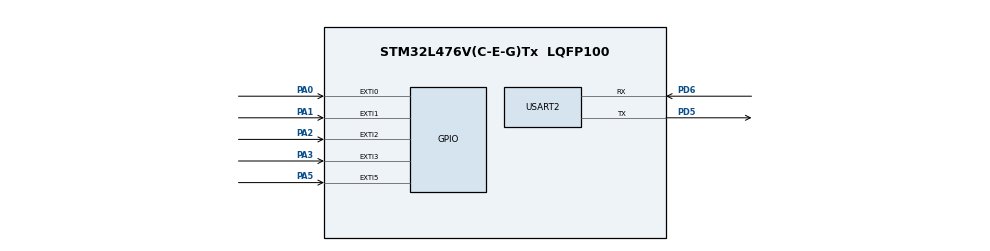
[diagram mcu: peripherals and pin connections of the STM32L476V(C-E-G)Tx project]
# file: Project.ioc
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Mcu.Family=STM32L4
Mcu.Name=STM32L476V(C-E-G)Tx
Mcu.Package=LQFP100
NVIC.EXTI0_IRQn=true\:0\:0\:true
NVIC.EXTI1_IRQn=true\:0\:0\:false
NVIC.EXTI2_IRQn=true\:0\:0\:false
NVIC.EXTI3_IRQn=true\:0\:0\:false
NVIC.EXTI9_5_IRQn=true\:0\:0\:false
NVIC.PriorityGroup=NVIC_PRIORITYGROUP_4
NVIC.RTC_WKUP_IRQn=true\:1\:0\:true
NVIC.USART2_IRQn=true\:0\:0\:false
PA0.GPIO_ModeDefaultEXTI=GPIO_MODE_IT_FALLING
PA0.GPIO_PuPd=GPIO_PULLDOWN
PA0.Signal=GPXTI0
PA1.GPIO_ModeDefaultEXTI=GPIO_MODE_IT_FALLING
PA1.GPIO_PuPd=GPIO_PULLDOWN
PA1.Signal=GPXTI1
PA13.Mode=Serial-Wire
PA13.Signal=SYS_JTMS-SWDIO
PA14.Mode=Serial-Wire
PA14.Signal=SYS_JTCK-SWCLK
PA2.GPIO_ModeDefaultEXTI=GPIO_MODE_IT_FALLING
PA2.GPIO_PuPd=GPIO_PULLDOWN
PA2.Signal=GPXTI2
PA3.GPIO_ModeDefaultEXTI=GPIO_MODE_IT_FALLING
PA3.GPIO_PuPd=GPIO_PULLDOWN
PA3.Signal=GPXTI3
PA5.GPIO_ModeDefaultEXTI=GPIO_MODE_IT_FALLING
PA5.GPIO_PuPd=GPIO_PULLDOWN
PA5.Signal=GPXTI5
PC14/OSC32_IN.Mode=LSE-External-Oscillator
PC14/OSC32_IN.Signal=RCC_OSC32_IN
PC15/OSC32_OUT.Mode=LSE-External-Oscillator
PC15/OSC32_OUT.Signal=RCC_OSC32_OUT
PD5.Mode=Asynchronous
PD5.Signal=USART2_TX
PD6.Mode=Asynchronous
PD6.Signal=USART2_RX
ProjectManager.TargetToolchain=EWARM
RCC.HSE_VALUE=8000000
RCC.HSI_VALUE=16000000
RCC.MSI_VALUE=4000000
RCC.PREFETCH_ENABLE=1
RCC.RTCClockSelection=RCC_RTCCLKSOURCE_LSE
RCC.USART2CLockSelection=RCC_USART2CLKSOURCE_HSI
RCC.VCOOutputFreq_Value=32000000
RTC.WakeUpClock=RTC_WAKEUPCLOCK_CK_SPRE_16BITS
RTC.WakeUpCounter=59
USART2.WordLength=UART_WORDLENGTH_8B
VP_RTC_VS_RTC_WakeUp_intern.Mode=WakeUp
board=Project

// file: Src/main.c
/**
  ******************************************************************************
  * File Name          : main.c
  * Description        : Main program body
  ******************************************************************************
  *
  * COPYRIGHT(c) 2015 STMicroelectronics
  *
  * Redistribution and use in source and binary forms, with or without modification,
  * are permitted provided that the following conditions are met:
  *   1. Redistributions of source code must retain the above copyright notice,
  *      this list of conditions and the following disclaimer.
  *   2. Redistributions in binary form must reproduce the above copyright notice,
  *      this list of conditions and the following disclaimer in the documentation
  *      and/or other materials provided with the distribution.
  *   3. Neither the name of STMicroelectronics nor the names of its contributors
  *      may be used to endorse or promote products derived from this software
  *      without specific prior written permission.
  *
  * THIS SOFTWARE IS PROVIDED BY THE COPYRIGHT HOLDERS AND CONTRIBUTORS "AS IS"
  * AND ANY EXPRESS OR IMPLIED WARRANTIES, INCLUDING, BUT NOT LIMITED TO, THE
  * IMPLIED WARRANTIES OF MERCHANTABILITY AND FITNESS FOR A PARTICULAR PURPOSE ARE
  * DISCLAIMED. IN NO EVENT SHALL THE COPYRIGHT HOLDER OR CONTRIBUTORS BE LIABLE
  * FOR ANY DIRECT, INDIRECT, INCIDENTAL, SPECIAL, EXEMPLARY, OR CONSEQUENTIAL
  * DAMAGES (INCLUDING, BUT NOT LIMITED TO, PROCUREMENT OF SUBSTITUTE GOODS OR
  * SERVICES; LOSS OF USE, DATA, OR PROFITS; OR BUSINESS INTERRUPTION) HOWEVER
  * CAUSED AND ON ANY THEORY OF LIABILITY, WHETHER IN CONTRACT, STRICT LIABILITY,
  * OR TORT (INCLUDING NEGLIGENCE OR OTHERWISE) ARISING IN ANY WAY OUT OF THE USE
  * OF THIS SOFTWARE, EVEN IF ADVISED OF THE POSSIBILITY OF SUCH DAMAGE.
  *
  ******************************************************************************
  */
#include "stm32l4xx_hal.h"

/* USER CODE BEGIN Includes */
#include "stm32l476g_discovery.h"
#include "stm32l476g_discovery_glass_lcd.h"

/* USER CODE END Includes */

RTC_HandleTypeDef hrtc;

UART_HandleTypeDef huart2;

/* USER CODE BEGIN PV */
/* Private variables ---------------------------------------------------------*/
#define STR_SIZE 7
#define SCREEN_VOLUME 1
#define SCREEN_FLOW 2
#define SCREEN_SN 3
#define SCREEN_FIRST SCREEN_VOLUME
#define SCREEN_LAST SCREEN_SN
#define LCD_ON

static const uint8_t sn[STR_SIZE-1] = {'S','N','1','2','3','4'};

static uint8_t str[STR_SIZE];
static volatile uint32_t volume = 0, flow = 0, flow_temp = 0;
static volatile uint8_t displayScreenNb = SCREEN_FIRST;

UART_WakeUpTypeDef Uart_WakeUpSelection;
uint8_t charbuf = 0;
uint8_t uart_flag = 0;

/* USER CODE END PV */

void SystemClock_Config(void);
static void MX_GPIO_Init(void);
static void MX_RTC_Init(void);
static void MX_USART2_UART_Init(void);

/* USER CODE BEGIN PFP */
/* Private function prototypes -----------------------------------------------*/
//static void Error_Handler(void);
static void DisplayServ(void);
static void UartInit(void);
static void UartSendServ(void);

/* USER CODE END PFP */

int main(void)
{

  /* MCU Configuration----------------------------------------------------------*/

  /* Reset of all peripherals, Initializes the Flash interface and the Systick. */
  HAL_Init();

  /* Configure the system clock */
  SystemClock_Config();

  /* Initialize all configured peripherals */
  MX_GPIO_Init();
  MX_RTC_Init();
  MX_USART2_UART_Init();

  /* USER CODE BEGIN 2 */
  BSP_JOY_Init(JOY_MODE_EXTI);

  #ifdef LCD_ON
      BSP_LCD_GLASS_Init();
  #endif

  HAL_RCCEx_WakeUpStopCLKConfig(RCC_STOP_WAKEUPCLOCK_HSI);
  HAL_SuspendTick();

  UartInit();

  /* USER CODE END 2 */

  /* Infinite loop */
  while (1)
  {

  /* USER CODE BEGIN 3 */
      #ifdef LCD_ON
          DisplayServ();
      #endif

      UartSendServ();
      HAL_PWREx_EnterSTOP1Mode(PWR_LOWPOWERREGULATOR_ON, PWR_STOPENTRY_WFI);

  }
  /* USER CODE END 3 */

}

/** System Clock Configuration
*/
void SystemClock_Config(void)
{

  RCC_OscInitTypeDef RCC_OscInitStruct;
  RCC_ClkInitTypeDef RCC_ClkInitStruct;
  RCC_PeriphCLKInitTypeDef PeriphClkInit;

  RCC_OscInitStruct.OscillatorType = RCC_OSCILLATORTYPE_HSI|RCC_OSCILLATORTYPE_LSE
                              |RCC_OSCILLATORTYPE_MSI;
  RCC_OscInitStruct.LSEState = RCC_LSE_ON;
  RCC_OscInitStruct.HSIState = RCC_HSI_ON;
  RCC_OscInitStruct.HSICalibrationValue = 16;
  RCC_OscInitStruct.MSIState = RCC_MSI_ON;
  RCC_OscInitStruct.MSICalibrationValue = 0;
  RCC_OscInitStruct.MSIClockRange = RCC_MSIRANGE_6;
  RCC_OscInitStruct.PLL.PLLState = RCC_PLL_NONE;
  HAL_RCC_OscConfig(&RCC_OscInitStruct);

  RCC_ClkInitStruct.ClockType = RCC_CLOCKTYPE_HCLK|RCC_CLOCKTYPE_SYSCLK
                              |RCC_CLOCKTYPE_PCLK1|RCC_CLOCKTYPE_PCLK2;
  RCC_ClkInitStruct.SYSCLKSource = RCC_SYSCLKSOURCE_MSI;
  RCC_ClkInitStruct.AHBCLKDivider = RCC_SYSCLK_DIV1;
  RCC_ClkInitStruct.APB1CLKDivider = RCC_HCLK_DIV1;
  RCC_ClkInitStruct.APB2CLKDivider = RCC_HCLK_DIV1;
  HAL_RCC_ClockConfig(&RCC_ClkInitStruct, FLASH_LATENCY_0);

  PeriphClkInit.PeriphClockSelection = RCC_PERIPHCLK_RTC|RCC_PERIPHCLK_USART2;
  PeriphClkInit.Usart2ClockSelection = RCC_USART2CLKSOURCE_HSI;
  PeriphClkInit.RTCClockSelection = RCC_RTCCLKSOURCE_LSE;
  HAL_RCCEx_PeriphCLKConfig(&PeriphClkInit);

  __PWR_CLK_ENABLE();

  HAL_PWREx_ControlVoltageScaling(PWR_REGULATOR_VOLTAGE_SCALE1);

  HAL_SYSTICK_Config(HAL_RCC_GetHCLKFreq()/1000);

  HAL_SYSTICK_CLKSourceConfig(SYSTICK_CLKSOURCE_HCLK);

}

/* RTC init function */
void MX_RTC_Init(void)
{

  RTC_TimeTypeDef sTime;
  RTC_DateTypeDef sDate;

    /**Initialize RTC and set the Time and Date
    */
  hrtc.Instance = RTC;
  hrtc.Init.HourFormat = RTC_HOURFORMAT_24;
  hrtc.Init.AsynchPrediv = 127;
  hrtc.Init.SynchPrediv = 255;
  hrtc.Init.OutPut = RTC_OUTPUT_DISABLE;
  hrtc.Init.OutPutRemap = RTC_OUTPUT_REMAP_PC13;
  hrtc.Init.OutPutPolarity = RTC_OUTPUT_POLARITY_HIGH;
  hrtc.Init.OutPutType = RTC_OUTPUT_TYPE_OPENDRAIN;
  HAL_RTC_Init(&hrtc);

  sTime.Hours = 0;
  sTime.Minutes = 0;
  sTime.Seconds = 0;
  sTime.TimeFormat = RTC_HOURFORMAT12_AM;
  sTime.DayLightSaving = RTC_DAYLIGHTSAVING_NONE;
  sTime.StoreOperation = RTC_STOREOPERATION_RESET;
  HAL_RTC_SetTime(&hrtc, &sTime, FORMAT_BCD);

  sDate.WeekDay = RTC_WEEKDAY_MONDAY;
  sDate.Month = RTC_MONTH_JANUARY;
  sDate.Date = 1;
  sDate.Year = 0;
  HAL_RTC_SetDate(&hrtc, &sDate, FORMAT_BCD);

    /**Enable the WakeUp
    */
  __HAL_RTC_WAKEUPTIMER_CLEAR_FLAG(&hrtc, RTC_FLAG_WUTF);
  HAL_RTCEx_SetWakeUpTimer_IT(&hrtc, 59, RTC_WAKEUPCLOCK_CK_SPRE_16BITS);

}

/* USART2 init function */
void MX_USART2_UART_Init(void)
{

  huart2.Instance = USART2;
  huart2.Init.BaudRate = 9600;
  huart2.Init.WordLength = UART_WORDLENGTH_8B;
  huart2.Init.StopBits = UART_STOPBITS_1;
  huart2.Init.Parity = UART_PARITY_NONE;
  huart2.Init.Mode = UART_MODE_TX_RX;
  huart2.Init.HwFlowCtl = UART_HWCONTROL_NONE;
  huart2.Init.OverSampling = UART_OVERSAMPLING_16;
  huart2.Init.OneBitSampling = UART_ONEBIT_SAMPLING_DISABLED;
  huart2.AdvancedInit.AdvFeatureInit = UART_ADVFEATURE_NO_INIT;
  HAL_UART_Init(&huart2);

}

/** Configure pins as
        * Analog
        * Input
        * Output
        * EVENT_OUT
        * EXTI
        * Free pins are configured automatically as Analog (this feature is enabled through
        * the Code Generation settings)
*/
void MX_GPIO_Init(void)
{

  GPIO_InitTypeDef GPIO_InitStruct;

  /* GPIO Ports Clock Enable */
  __GPIOE_CLK_ENABLE();
  __GPIOC_CLK_ENABLE();
  __GPIOH_CLK_ENABLE();
  __GPIOA_CLK_ENABLE();
  __GPIOB_CLK_ENABLE();
  __GPIOD_CLK_ENABLE();

  /*Configure GPIO pins : PE2 PE3 PE4 PE5
                           PE6 PE7 PE8 PE9
                           PE10 PE11 PE12 PE13
                           PE14 PE15 PE0 PE1 */
  GPIO_InitStruct.Pin = GPIO_PIN_2|GPIO_PIN_3|GPIO_PIN_4|GPIO_PIN_5
                          |GPIO_PIN_6|GPIO_PIN_7|GPIO_PIN_8|GPIO_PIN_9
                          |GPIO_PIN_10|GPIO_PIN_11|GPIO_PIN_12|GPIO_PIN_13
                          |GPIO_PIN_14|GPIO_PIN_15|GPIO_PIN_0|GPIO_PIN_1;
  GPIO_InitStruct.Mode = GPIO_MODE_ANALOG;
  GPIO_InitStruct.Pull = GPIO_NOPULL;
  HAL_GPIO_Init(GPIOE, &GPIO_InitStruct);

  /*Configure GPIO pins : PC13 PC0 PC1 PC2
                           PC3 PC4 PC5 PC6
                           PC7 PC8 PC9 PC10
                           PC11 PC12 */
  GPIO_InitStruct.Pin = GPIO_PIN_13|GPIO_PIN_0|GPIO_PIN_1|GPIO_PIN_2
                          |GPIO_PIN_3|GPIO_PIN_4|GPIO_PIN_5|GPIO_PIN_6
                          |GPIO_PIN_7|GPIO_PIN_8|GPIO_PIN_9|GPIO_PIN_10
                          |GPIO_PIN_11|GPIO_PIN_12;
  GPIO_InitStruct.Mode = GPIO_MODE_ANALOG;
  GPIO_InitStruct.Pull = GPIO_NOPULL;
  HAL_GPIO_Init(GPIOC, &GPIO_InitStruct);

  /*Configure GPIO pins : PH0 PH1 */
  GPIO_InitStruct.Pin = GPIO_PIN_0|GPIO_PIN_1;
  GPIO_InitStruct.Mode = GPIO_MODE_ANALOG;
  GPIO_InitStruct.Pull = GPIO_NOPULL;
  HAL_GPIO_Init(GPIOH, &GPIO_InitStruct);

  /*Configure GPIO pins : PA0 PA1 PA2 PA3
                           PA5 */
  GPIO_InitStruct.Pin = GPIO_PIN_0|GPIO_PIN_1|GPIO_PIN_2|GPIO_PIN_3
                          |GPIO_PIN_5;
  GPIO_InitStruct.Mode = GPIO_MODE_IT_FALLING;
  GPIO_InitStruct.Pull = GPIO_PULLDOWN;
  HAL_GPIO_Init(GPIOA, &GPIO_InitStruct);

  /*Configure GPIO pins : PA4 PA6 PA7 PA8
                           PA9 PA10 PA11 PA12
                           PA15 */
  GPIO_InitStruct.Pin = GPIO_PIN_4|GPIO_PIN_6|GPIO_PIN_7|GPIO_PIN_8
                          |GPIO_PIN_9|GPIO_PIN_10|GPIO_PIN_11|GPIO_PIN_12
                          |GPIO_PIN_15;
  GPIO_InitStruct.Mode = GPIO_MODE_ANALOG;
  GPIO_InitStruct.Pull = GPIO_NOPULL;
  HAL_GPIO_Init(GPIOA, &GPIO_InitStruct);

  /*Configure GPIO pins : PB0 PB1 PB10 PB11
                           PB12 PB13 PB14 PB15
                           PB3 PB4 PB5 PB6
                           PB7 PB8 PB9 */
  GPIO_InitStruct.Pin = GPIO_PIN_0|GPIO_PIN_1|GPIO_PIN_10|GPIO_PIN_11
                          |GPIO_PIN_12|GPIO_PIN_13|GPIO_PIN_14|GPIO_PIN_15
                          |GPIO_PIN_2|GPIO_PIN_3|GPIO_PIN_4|GPIO_PIN_5|GPIO_PIN_6
                          |GPIO_PIN_7|GPIO_PIN_8|GPIO_PIN_9;
  GPIO_InitStruct.Mode = GPIO_MODE_ANALOG;
  GPIO_InitStruct.Pull = GPIO_NOPULL;
  HAL_GPIO_Init(GPIOB, &GPIO_InitStruct);

  /*Configure GPIO pins : PD8 PD9 PD10 PD11
                           PD12 PD13 PD14 PD15
                           PD0 PD1 PD2 PD3
                           PD4 PD7 */
  GPIO_InitStruct.Pin = GPIO_PIN_8|GPIO_PIN_9|GPIO_PIN_10|GPIO_PIN_11
                          |GPIO_PIN_12|GPIO_PIN_13|GPIO_PIN_14|GPIO_PIN_15
                          |GPIO_PIN_0|GPIO_PIN_1|GPIO_PIN_2|GPIO_PIN_3
                          |GPIO_PIN_4|GPIO_PIN_7;
  GPIO_InitStruct.Mode = GPIO_MODE_ANALOG;
  GPIO_InitStruct.Pull = GPIO_NOPULL;
  HAL_GPIO_Init(GPIOD, &GPIO_InitStruct);

  /* GPIO Ports Clock DIsable */
  __GPIOE_CLK_DISABLE();
  __GPIOC_CLK_DISABLE();
  __GPIOH_CLK_DISABLE();
  __GPIOB_CLK_DISABLE();

  /* EXTI interrupt init*/
  HAL_NVIC_SetPriority(EXTI0_IRQn, 0, 0);
  HAL_NVIC_EnableIRQ(EXTI0_IRQn);

  HAL_NVIC_SetPriority(EXTI1_IRQn, 0, 0);
  HAL_NVIC_EnableIRQ(EXTI1_IRQn);

  HAL_NVIC_SetPriority(EXTI2_IRQn, 0, 0);
  HAL_NVIC_EnableIRQ(EXTI2_IRQn);

  HAL_NVIC_SetPriority(EXTI3_IRQn, 0, 0);
  HAL_NVIC_EnableIRQ(EXTI3_IRQn);

  HAL_NVIC_SetPriority(EXTI9_5_IRQn, 0, 0);
  HAL_NVIC_EnableIRQ(EXTI9_5_IRQn);

}

/* USER CODE BEGIN 4 */

void DisplayServ(void)
{
	switch (displayScreenNb)
	{
		case SCREEN_VOLUME:
			snprintf((char*)str,STR_SIZE,"%05dL",volume);
			break;
		case SCREEN_FLOW:
			snprintf((char*)str,STR_SIZE,"%3dL/m",flow);
			 break;
		case SCREEN_SN:
			for(uint8_t i=0;i<(STR_SIZE-1);i++) {str[i]=sn[i];}
			break;
		default:
			snprintf((char*)str,STR_SIZE,"%05dL",volume);
			break;
		}
		BSP_LCD_GLASS_DisplayString(str);
}

void UartSendServ(void)
{
         if (uart_flag == 1)
         {
                snprintf((char*)str,STR_SIZE,"%05dL",volume);
                HAL_UART_Transmit(&huart2, (uint8_t*)(uint8_t*)"\r\n",2, 10);
                HAL_UART_Transmit(&huart2, (uint8_t*)str,STR_SIZE-1, 10);
                HAL_UART_Transmit(&huart2, (uint8_t*)(uint8_t*)"\r\n",2, 10);
                uart_flag = 0;
         }
}

void UartInit(void)
{
         HAL_UART_Receive_IT(&huart2,&charbuf,1);
         Uart_WakeUpSelection.WakeUpEvent = UART_WAKEUP_ON_READDATA_NONEMPTY;
         HAL_UARTEx_StopModeWakeUpSourceConfig(&huart2, Uart_WakeUpSelection);
         HAL_UARTEx_EnableStopMode(&huart2);
}

void HAL_RTCEx_WakeUpTimerEventCallback(RTC_HandleTypeDef *hrtc)
{
	flow = flow_temp;
	flow_temp = 0;
}

void HAL_GPIO_EXTI_Callback(uint16_t GPIO_Pin)
{

  if ((GPIO_Pin&SEL_JOY_PIN)!=RESET)  //Volume increasing
	{
		volume++;
		flow_temp++;
	}

	if ((GPIO_Pin&(LEFT_JOY_PIN|DOWN_JOY_PIN))!=RESET)  //Menu
	{
		if (displayScreenNb > SCREEN_FIRST) {displayScreenNb--;}
    else {displayScreenNb = SCREEN_LAST;}
	}

	if ((GPIO_Pin&(RIGHT_JOY_PIN|UP_JOY_PIN))!=RESET)  //Menu
	{
		if (displayScreenNb < SCREEN_LAST) {displayScreenNb++;}
		else {displayScreenNb = SCREEN_FIRST;}
	}
}

/*
void Error_Handler(void)
{
	while (1) {}
}
*/

/* USER CODE END 4 */

/************************ (C) COPYRIGHT STMicroelectronics *****END OF FILE****/
